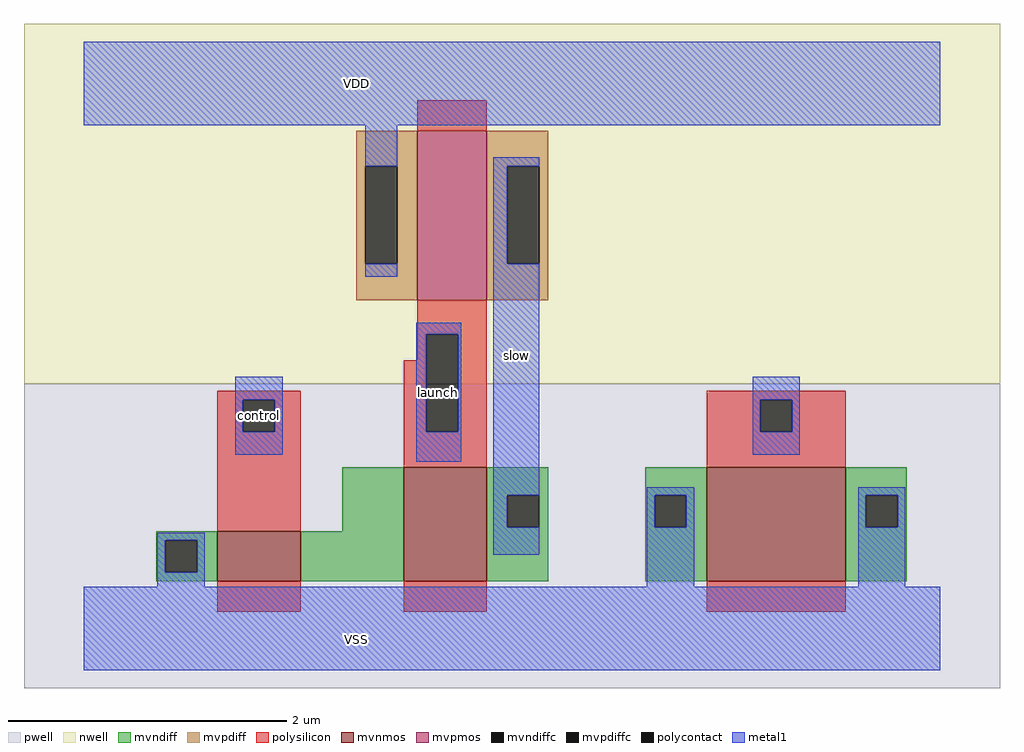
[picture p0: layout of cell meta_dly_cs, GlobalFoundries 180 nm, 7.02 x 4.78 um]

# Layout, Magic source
magic
tech gf180mcuD
magscale 1 10
<< nwell >>
rect -86 352 1318 870
<< pwell >>
rect -86 -86 1318 352
<< mvnmos >>
rect 192 68 312 140
rect 460 68 580 232
rect 896 68 1096 232
<< mvpmos >>
rect 480 472 580 716
<< mvndiff >>
rect 372 140 460 232
rect 104 127 192 140
rect 104 81 117 127
rect 163 81 192 127
rect 104 68 192 81
rect 312 68 460 140
rect 580 192 668 232
rect 580 146 609 192
rect 655 146 668 192
rect 580 68 668 146
rect 808 192 896 232
rect 808 146 821 192
rect 867 146 896 192
rect 808 68 896 146
rect 1096 192 1184 232
rect 1096 146 1125 192
rect 1171 146 1184 192
rect 1096 68 1184 146
<< mvpdiff >>
rect 392 665 480 716
rect 392 525 405 665
rect 451 525 480 665
rect 392 472 480 525
rect 580 665 668 716
rect 580 525 609 665
rect 655 525 668 665
rect 580 472 668 525
<< mvndiffc >>
rect 117 81 163 127
rect 609 146 655 192
rect 821 146 867 192
rect 1125 146 1171 192
<< mvpdiffc >>
rect 405 525 451 665
rect 609 525 655 665
<< polysilicon >>
rect 480 716 580 760
rect 480 423 580 472
rect 480 386 493 423
rect 192 329 312 342
rect 192 283 229 329
rect 275 283 312 329
rect 192 140 312 283
rect 460 283 493 386
rect 539 283 580 423
rect 460 232 580 283
rect 896 329 1096 342
rect 896 283 973 329
rect 1019 283 1096 329
rect 896 232 1096 283
rect 192 24 312 68
rect 460 24 580 68
rect 896 24 1096 68
<< polycontact >>
rect 229 283 275 329
rect 493 283 539 423
rect 973 283 1019 329
<< metal1 >>
rect 0 724 1232 844
rect 405 665 451 724
rect 405 506 451 525
rect 589 665 655 678
rect 589 525 609 665
rect 478 423 543 440
rect 218 329 286 362
rect 218 283 229 329
rect 275 283 286 329
rect 218 250 286 283
rect 478 283 493 423
rect 539 283 543 423
rect 478 240 543 283
rect 589 192 655 525
rect 962 329 1030 362
rect 962 283 973 329
rect 1019 283 1030 329
rect 962 250 1030 283
rect 589 146 609 192
rect 106 127 174 138
rect 106 81 117 127
rect 163 81 174 127
rect 589 106 655 146
rect 810 192 878 203
rect 810 146 821 192
rect 867 146 878 192
rect 106 60 174 81
rect 810 60 878 146
rect 1114 192 1182 203
rect 1114 146 1125 192
rect 1171 146 1182 192
rect 1114 60 1182 146
rect 0 -60 1232 60
<< labels >>
rlabel metal1 s 510 340 510 340 4 launch
port 1 nsew
rlabel metal1 s 252 306 252 306 4 control
port 2 nsew
rlabel metal1 s 622 392 622 392 4 slow
port 3 nsew
rlabel metal1 s 392 784 392 784 4 VDD
port 4 nsew
rlabel metal1 s 392 -16 392 -16 4 VSS
port 5 nsew
<< properties >>
string FIXED_BBOX 0 0 1232 784
string MASKHINTS_DUALGATE -56 764 400 840 660 764 1288 840 -56 422 344 764 716 424 1288 764 660 422 1288 424 -56 188 112 422 660 280 816 422 1176 280 1288 422 -56 20 56 188 1232 20 1288 280 -56 -56 112 20 660 -56 816 20 1176 -56 1288 20
string MASKHINTS_NPLUS -40 -40 1272 352
string MASKHINTS_PPLUS -40 352 1272 824
<< end >>
